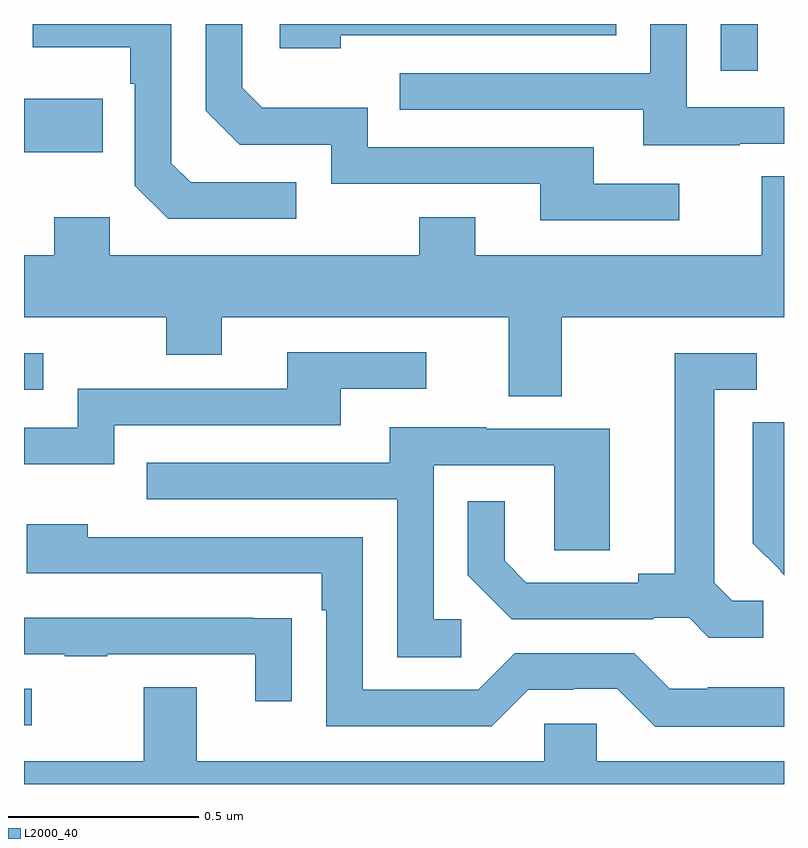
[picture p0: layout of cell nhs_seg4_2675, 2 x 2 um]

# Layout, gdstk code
import gdstk
lib = gdstk.Library(unit=1e-6, precision=1e-09)
def R(c, l, rs):  # rectangles x0, y0, x1, y1
    for r in rs: c.add(gdstk.rectangle(r[:2], r[2:], *l))
def P(c, l, *ps):  # polygons
    for p in ps: c.add(gdstk.Polygon(p, *l))
L2000_40 = (2000, 40)

nhs_seg4_2675 = lib.new_cell('nhs_seg4_2675')
R(nhs_seg4_2675, L2000_40, [(143,821.055,143.02,821.151), (143,821.937,143.05,822.033), (143,822.563,143.207,822.703), (144.834,822.777,144.931,822.9)])
P(nhs_seg4_2675, L2000_40, [(144.724,822.48),(144.499,822.48),(144.499,822.576),(143.904,822.576),(143.904,822.679),(143.627,822.679),(143.574,822.732),(143.574,822.9),(143.478,822.9),(143.478,822.672),(143.568,822.582),(143.808,822.582),(143.808,822.48),(144.359,822.48),(144.359,822.384),(144.724,822.384)],
  [(144.883,822.585),(145,822.585),(145,822.681),(144.744,822.681),(144.744,822.9),(144.648,822.9),(144.648,822.771),(143.989,822.771),(143.989,822.675),(144.629,822.675),(144.629,822.581),(144.883,822.581)],
  [(143.716,822.483),(143.439,822.483),(143.388,822.534),(143.388,822.9),(143.023,822.9),(143.023,822.839),(143.28,822.839),(143.28,822.743),(143.292,822.743),(143.292,822.474),(143.379,822.387),(143.716,822.387)],
  [(143.834,822.87),(144.558,822.87),(144.558,822.9),(143.673,822.9),(143.673,822.836),(143.834,822.836)],
  [(144.415,822.128),(145,822.128),(145,822.5),(144.941,822.5),(144.941,822.292),(144.187,822.292),(144.187,822.391),(144.04,822.391),(144.04,822.292),(143.226,822.292),(143.226,822.391),(143.08,822.391),(143.08,822.292),(143,822.292),(143,822.128),(143.374,822.128),(143.374,822.029),(143.521,822.029),(143.521,822.128),(144.275,822.128),(144.275,821.92),(144.415,821.92)],
  [(143.238,821.844),(143.833,821.844),(143.833,821.94),(144.058,821.94),(144.058,822.036),(143.693,822.036),(143.693,821.94),(143.142,821.94),(143.142,821.838),(143,821.838),(143,821.741),(143.238,821.741)],
  [(144.946,821.382),(144.864,821.382),(144.817,821.429),(144.817,821.937),(144.928,821.937),(144.928,822.033),(144.713,822.033),(144.713,821.453),(144.617,821.453),(144.617,821.43),(144.322,821.43),(144.265,821.487),(144.265,821.644),(144.168,821.644),(144.168,821.45),(144.284,821.334),(144.656,821.334),(144.656,821.337),(144.75,821.337),(144.802,821.285),(144.946,821.285)],
  [(145,821.852),(144.918,821.852),(144.918,821.534),(144.991,821.461),(144.99,821.46),(145,821.45)],
  [(144.151,821.334),(144.078,821.334),(144.078,821.739),(144.396,821.739),(144.396,821.515),(144.541,821.515),(144.541,821.835),(144.217,821.835),(144.217,821.839),(143.963,821.839),(143.963,821.745),(143.323,821.745),(143.323,821.649),(143.982,821.649),(143.982,821.233),(144.151,821.233)],
  [(145,821.155),(144.799,821.155),(144.799,821.151),(144.699,821.151),(144.606,821.244),(144.291,821.244),(144.195,821.148),(143.892,821.148),(143.892,821.55),(143.168,821.55),(143.168,821.584),(143.007,821.584),(143.007,821.454),(143.783,821.454),(143.783,821.357),(143.796,821.357),(143.796,821.052),(144.231,821.052),(144.327,821.148),(144.446,821.148),(144.446,821.151),(144.561,821.151),(144.661,821.051),(145,821.051)],
  [(143.705,821.336),(143.603,821.336),(143.603,821.337),(143,821.337),(143,821.241),(143.107,821.241),(143.107,821.236),(143.219,821.236),(143.219,821.241),(143.609,821.241),(143.609,821.118),(143.705,821.118)],
  [(145,820.96),(144.507,820.96),(144.507,821.058),(144.369,821.058),(144.369,820.96),(143.455,820.96),(143.455,821.155),(143.315,821.155),(143.315,820.96),(143,820.96),(143,820.9),(145,820.9)])

lib.write_gds('nhs_seg4_2675.gds')
